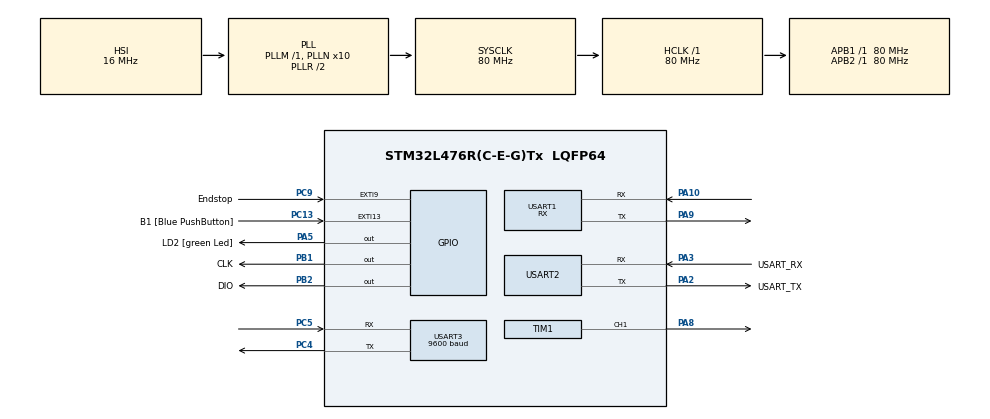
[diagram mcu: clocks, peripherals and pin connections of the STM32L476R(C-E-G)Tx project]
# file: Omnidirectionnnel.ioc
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CRC.CRCLength=CRC_POLYLENGTH_16B
CRC.DefaultPolynomialUse=DEFAULT_POLYNOMIAL_DISABLE
CRC.GeneratingPolynomial=X13+X9+X8+X7+X6+X4+X0
Dma.Request0=USART1_RX
Dma.Request1=USART3_TX
Dma.USART1_RX.0.Direction=DMA_PERIPH_TO_MEMORY
Dma.USART1_RX.0.Instance=DMA1_Channel5
Dma.USART1_RX.0.MemDataAlignment=DMA_MDATAALIGN_BYTE
Dma.USART1_RX.0.MemInc=DMA_MINC_ENABLE
Dma.USART1_RX.0.Mode=DMA_CIRCULAR
Dma.USART1_RX.0.PeriphDataAlignment=DMA_PDATAALIGN_BYTE
Dma.USART1_RX.0.PeriphInc=DMA_PINC_DISABLE
Dma.USART1_RX.0.Priority=DMA_PRIORITY_HIGH
Dma.USART3_TX.1.Direction=DMA_MEMORY_TO_PERIPH
Dma.USART3_TX.1.Instance=DMA1_Channel2
Dma.USART3_TX.1.MemDataAlignment=DMA_MDATAALIGN_BYTE
Dma.USART3_TX.1.MemInc=DMA_MINC_ENABLE
Dma.USART3_TX.1.Mode=DMA_NORMAL
Dma.USART3_TX.1.PeriphDataAlignment=DMA_PDATAALIGN_BYTE
Dma.USART3_TX.1.PeriphInc=DMA_PINC_DISABLE
Dma.USART3_TX.1.Priority=DMA_PRIORITY_LOW
Mcu.Family=STM32L4
Mcu.Name=STM32L476R(C-E-G)Tx
Mcu.Package=LQFP64
NVIC.DMA1_Channel2_IRQn=true\:0\:0\:false\:false\:true\:false\:true\:true
NVIC.DMA1_Channel5_IRQn=true\:0\:0\:false\:false\:true\:false\:true\:true
NVIC.EXTI9_5_IRQn=true\:0\:0\:false\:false\:true\:true\:true\:true
NVIC.PriorityGroup=NVIC_PRIORITYGROUP_4
NVIC.TIM1_TRG_COM_TIM17_IRQn=true\:0\:0\:false\:false\:true\:true\:true\:true
NVIC.TIM2_IRQn=true\:0\:0\:false\:false\:true\:true\:true\:true
PA10.Mode=Asynchronous
PA10.Signal=USART1_RX
PA13\ (JTMS-SWDIO).GPIO_Label=TMS
PA13\ (JTMS-SWDIO).Mode=Serial_Wire
PA13\ (JTMS-SWDIO).Signal=SYS_JTMS-SWDIO
PA14\ (JTCK-SWCLK).GPIO_Label=TCK
PA14\ (JTCK-SWCLK).Mode=Serial_Wire
PA14\ (JTCK-SWCLK).Signal=SYS_JTCK-SWCLK
PA2.GPIO_Label=USART_TX
PA2.GPIO_Mode=GPIO_MODE_AF_PP
PA2.GPIO_PuPd=GPIO_NOPULL
PA2.GPIO_Speed=GPIO_SPEED_FREQ_VERY_HIGH
PA2.Mode=Asynchronous
PA2.Signal=USART2_TX
PA3.GPIO_Label=USART_RX
PA3.GPIO_Mode=GPIO_MODE_AF_PP
PA3.GPIO_PuPd=GPIO_NOPULL
PA3.GPIO_Speed=GPIO_SPEED_FREQ_VERY_HIGH
PA3.Mode=Asynchronous
PA3.Signal=USART2_RX
PA5.GPIO_Label=LD2 [green Led]
PA5.GPIO_ModeDefaultOutputPP=GPIO_MODE_OUTPUT_PP
PA5.GPIO_PuPd=GPIO_NOPULL
PA5.GPIO_Speed=GPIO_SPEED_FREQ_LOW
PA5.Signal=GPIO_Output
PA8.Signal=S_TIM1_CH1
PA9.Mode=Asynchronous
PA9.Signal=USART1_TX
PB1.GPIO_Label=CLK
PB1.Signal=GPIO_Output
PB2.GPIO_Label=DIO
PB2.Signal=GPIO_Output
PB3\ (JTDO-TRACESWO).GPIO_Label=SWO
PB3\ (JTDO-TRACESWO).Signal=SYS_JTDO-SWO
PC13.GPIO_Label=B1 [Blue PushButton]
PC13.GPIO_ModeDefaultEXTI=GPIO_MODE_IT_FALLING
PC13.GPIO_PuPd=GPIO_NOPULL
PC13.Signal=GPXTI13
PC14-OSC32_IN\ (PC14).Mode=LSE-External-Oscillator
PC14-OSC32_IN\ (PC14).Signal=RCC_OSC32_IN
PC15-OSC32_OUT\ (PC15).Mode=LSE-External-Oscillator
PC15-OSC32_OUT\ (PC15).Signal=RCC_OSC32_OUT
PC4.Mode=Asynchronous
PC4.Signal=USART3_TX
PC5.Mode=Asynchronous
PC5.Signal=USART3_RX
PC9.GPIO_Label=Endstop
PC9.GPIO_PuPd=GPIO_PULLDOWN
PC9.Signal=GPXTI9
PH0-OSC_IN\ (PH0).Signal=RCC_OSC_IN
PH1-OSC_OUT\ (PH1).Signal=RCC_OSC_OUT
ProjectManager.HeapSize=0x200
ProjectManager.StackSize=0x400
ProjectManager.TargetToolchain=STM32CubeIDE
RCC.ADCFreq_Value=64000000
RCC.AHBFreq_Value=80000000
RCC.APB1Freq_Value=80000000
RCC.APB1TimFreq_Value=80000000
RCC.APB2Freq_Value=80000000
RCC.APB2TimFreq_Value=80000000
RCC.CortexFreq_Value=80000000
RCC.HCLKFreq_Value=80000000
RCC.HSE_VALUE=8000000
RCC.HSI_VALUE=16000000
RCC.MSI_VALUE=4000000
RCC.PLLN=10
RCC.PLLSourceVirtual=RCC_PLLSOURCE_HSI
RCC.PREFETCH_ENABLE=1
RCC.SYSCLKFreq_VALUE=80000000
RCC.SYSCLKSource=RCC_SYSCLKSOURCE_PLLCLK
RCC.USBFreq_Value=64000000
RCC.VCOOutputFreq_Value=160000000
SH.S_TIM1_CH1.0=TIM1_CH1,Output Compare1 CH1
TIM1.Channel-Output\ Compare1\ CH1=TIM_CHANNEL_1
TIM1.OCMode_1=TIM_OCMODE_ACTIVE
TIM1.Period=25000-1
TIM1.Pulse-Output\ Compare1\ CH1=12500
TIM1.TIM_MasterOutputTrigger=TIM_TRGO_OC1
TIM1.TIM_MasterSlaveMode=TIM_MASTERSLAVEMODE_ENABLE
TIM2.AutoReloadPreload=TIM_AUTORELOAD_PRELOAD_ENABLE
TIM2.Channel-Output\ Compare1\ No\ Output=TIM_CHANNEL_1
TIM2.CounterMode=TIM_COUNTERMODE_DOWN
TIM2.OCMode_1=TIM_OCMODE_ACTIVE
TIM2.Period=14*3200
TIM2.Pulse-Output\ Compare1\ No\ Output=1
TIM2.TIM_MasterOutputTrigger=TIM_TRGO_OC1REF
TIM2.TIM_MasterSlaveMode=TIM_MASTERSLAVEMODE_ENABLE
USART1.Mode=MODE_RX
USART1.SwapParam=ADVFEATURE_SWAP_ENABLE
USART1.VirtualMode-Asynchronous=VM_ASYNC
USART2.VirtualMode-Asynchronous=VM_ASYNC
USART3.BaudRate=9600
USART3.Mode=MODE_TX
USART3.VirtualMode-Asynchronous=VM_ASYNC
VP_CRC_VS_CRC.Mode=CRC_Activate
VP_TIM1_VS_ClockSourceINT.Mode=Internal
VP_TIM1_VS_ClockSourceITR.Mode=TriggerSource_ITR1
VP_TIM1_VS_ControllerModeGated.Mode=Gated Mode
VP_TIM2_VS_ClockSourceITR.Mode=TriggerSource_ITR0
VP_TIM2_VS_ControllerModeClock.Mode=Clock Mode
VP_TIM2_VS_OPM.Mode=OPM_bit
VP_TIM2_VS_no_output1.Mode=Output Compare1 No Output
board=NUCLEO-L476RG

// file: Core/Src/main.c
/* USER CODE BEGIN Header */

#define USE_KANGAROO
/**
  ******************************************************************************
  * @file           : main.c
  * @brief          : Main program body
  ******************************************************************************
  * @attention
  *
  * Copyright (c) 2023 STMicroelectronics.
  * All rights reserved.
  *
  * This software is licensed under terms that can be found in the LICENSE file
  * in the root directory of this software component.
  * If no LICENSE file comes with this software, it is provided AS-IS.
  *
  ******************************************************************************
  */
/* USER CODE END Header */
#include "main.h"

/* USER CODE BEGIN Includes */
#include "math.h"
#include "stdio.h"
#include "Stepper.h"
#include "IBus.h"

#ifdef USE_KANGAROO
#include "Kangaroo.h"
#else
#include "Sabertooth.h"
#endif

#include "Omnidirection.h"
#include "tm1637.h"
/* USER CODE END Includes */

CRC_HandleTypeDef hcrc;

TIM_HandleTypeDef htim1;
TIM_HandleTypeDef htim2;

UART_HandleTypeDef huart1;
UART_HandleTypeDef huart2;
UART_HandleTypeDef huart3;
DMA_HandleTypeDef hdma_usart1_rx;
DMA_HandleTypeDef hdma_usart3_tx;

/* USER CODE BEGIN PV */
IBus_struct Ibus;

tm1637_t Display;
Stepper_t stepper;
uint8_t motor[4] = {0,1,0,1};
uint8_t address[4] = {128,129,129,128};
float Stop[4]={0};
float command[4]={0};

Sabertooth saber;

/* USER CODE END PV */

void SystemClock_Config(void);
static void MX_GPIO_Init(void);
static void MX_DMA_Init(void);
static void MX_USART2_UART_Init(void);
static void MX_USART1_UART_Init(void);
static void MX_USART3_UART_Init(void);
static void MX_TIM1_Init(void);
static void MX_TIM2_Init(void);
static void MX_CRC_Init(void);

/* USER CODE BEGIN 0 */
void HAL_GPIO_EXTI_Callback(uint16_t GPIO_Pin)
{
    if(GPIO_Pin == GPIO_PIN_9) // If The INT Source Is EXTI Line9 (A9 Pin)
    {
  	HAL_TIM_OC_Stop(&htim1, TIM_CHANNEL_1);
  	HAL_TIM_OC_Stop_IT(&htim2, TIM_CHANNEL_1);

  	htim1.Instance->CNT = 0;
  	htim2.Instance->CNT = 0;
  	stepper.Pos = 0;
  	stepper.moving = 0;
    }
}

/* USER CODE END 0 */

int main(void)
{

  /* MCU Configuration--------------------------------------------------------*/

  /* Reset of all peripherals, Initializes the Flash interface and the Systick. */
  HAL_Init();

  /* Configure the system clock */
  SystemClock_Config();

  /* Initialize all configured peripherals */
  MX_GPIO_Init();
  MX_DMA_Init();
  MX_USART2_UART_Init();
  MX_USART1_UART_Init();
  MX_USART3_UART_Init();
  MX_TIM1_Init();
  MX_TIM2_Init();
  MX_CRC_Init();
  /* USER CODE BEGIN 2 */
  uint16_t *channel;
  IBUS_Init(&Ibus, &huart1);
#ifndef USE_KANGAROO
  Sabertooth_Init(&saber, &huart3, motor ,address);
#else
  Kangaroo_Init(&saber, &huart3, motor, address);
#endif
  channel = IBUS_GetChannels(&Ibus);

  char msg[150] = {0};
  IBUS_Update(&Ibus);
  tm1637_init(&Display, CLK_GPIO_Port, CLK_Pin, DIO_GPIO_Port, DIO_Pin);

  /* USER CODE END 2 */

  /* Infinite loop */
  while (1)
  {

    /* USER CODE BEGIN 3 */

	//Receiving
	  IBUS_Update(&Ibus);

	//Processing
	  uint16_t swap = channel[0];
	  channel[0] = channel[2];
	  channel[1] = swap;
	  channel[2] = channel[3];

	  Transform_Omni(channel, command);
	  int32_t Estimated_score = floor((channel[8]-1000)/50);

	  tm1637_write_int(&Display, Estimated_score, 0);

	//Controlling
	  if (channel[8]<1500) {
#ifndef USE_KANGAROO
		  Sabertooth_Drive(&saber,Stop);
#else
		  Kangaroo_drive(&saber, Stop);
#endif
		  HAL_GPIO_WritePin(LD2_GPIO_Port, LD2_Pin, 0);
		  HAL_UART_Transmit(&huart2, "-", 1, 5);
	  }
	  else {
#ifndef USE_KANGAROO
		  Sabertooth_Drive(&saber,command);
#else
		  Kangaroo_drive(&saber, command);
#endif
		  HAL_GPIO_WritePin(LD2_GPIO_Port, LD2_Pin, 1);
	  }
	  sprintf(msg,"%i;%i;%i; ==> %f;%f;%f;%f\r\n",channel[0],channel[1],channel[2],command[0],command[1],command[2],command[3]);
	  //HAL_UART_Transmit(&huart2, "-", 1, 5);

	  //sprintf(msg,"%i,%f;\r\n",channel[0],command[0]);
	  //sprintf(msg,"%i;%i;%i;%i;%i;%i;%i;%i;%i;%i\r\n",channel[0],channel[1],channel[2],channel[3],channel[4],channel[5],channel[6],channel[7],channel[8],channel[9]);
	  HAL_UART_Transmit(&huart2, msg, strlen(msg), 100);

  }
  /* USER CODE END 3 */
}

void SystemClock_Config(void)
{
  RCC_OscInitTypeDef RCC_OscInitStruct = {0};
  RCC_ClkInitTypeDef RCC_ClkInitStruct = {0};

  /** Configure the main internal regulator output voltage
  */
  if (HAL_PWREx_ControlVoltageScaling(PWR_REGULATOR_VOLTAGE_SCALE1) != HAL_OK)
  {
    Error_Handler();
  }

  /** Initializes the RCC Oscillators according to the specified parameters
  * in the RCC_OscInitTypeDef structure.
  */
  RCC_OscInitStruct.OscillatorType = RCC_OSCILLATORTYPE_HSI;
  RCC_OscInitStruct.HSIState = RCC_HSI_ON;
  RCC_OscInitStruct.HSICalibrationValue = RCC_HSICALIBRATION_DEFAULT;
  RCC_OscInitStruct.PLL.PLLState = RCC_PLL_ON;
  RCC_OscInitStruct.PLL.PLLSource = RCC_PLLSOURCE_HSI;
  RCC_OscInitStruct.PLL.PLLM = 1;
  RCC_OscInitStruct.PLL.PLLN = 10;
  RCC_OscInitStruct.PLL.PLLP = RCC_PLLP_DIV7;
  RCC_OscInitStruct.PLL.PLLQ = RCC_PLLQ_DIV2;
  RCC_OscInitStruct.PLL.PLLR = RCC_PLLR_DIV2;
  if (HAL_RCC_OscConfig(&RCC_OscInitStruct) != HAL_OK)
  {
    Error_Handler();
  }

  /** Initializes the CPU, AHB and APB buses clocks
  */
  RCC_ClkInitStruct.ClockType = RCC_CLOCKTYPE_HCLK|RCC_CLOCKTYPE_SYSCLK
                              |RCC_CLOCKTYPE_PCLK1|RCC_CLOCKTYPE_PCLK2;
  RCC_ClkInitStruct.SYSCLKSource = RCC_SYSCLKSOURCE_PLLCLK;
  RCC_ClkInitStruct.AHBCLKDivider = RCC_SYSCLK_DIV1;
  RCC_ClkInitStruct.APB1CLKDivider = RCC_HCLK_DIV1;
  RCC_ClkInitStruct.APB2CLKDivider = RCC_HCLK_DIV1;

  if (HAL_RCC_ClockConfig(&RCC_ClkInitStruct, FLASH_LATENCY_4) != HAL_OK)
  {
    Error_Handler();
  }
}

static void MX_CRC_Init(void)
{

  hcrc.Instance = CRC;
  hcrc.Init.DefaultPolynomialUse = DEFAULT_POLYNOMIAL_DISABLE;
  hcrc.Init.DefaultInitValueUse = DEFAULT_INIT_VALUE_ENABLE;
  hcrc.Init.GeneratingPolynomial = 9169;
  hcrc.Init.CRCLength = 14;
  hcrc.Init.InputDataInversionMode = CRC_INPUTDATA_INVERSION_NONE;
  hcrc.Init.OutputDataInversionMode = CRC_OUTPUTDATA_INVERSION_DISABLE;
  hcrc.InputDataFormat = CRC_INPUTDATA_FORMAT_BYTES;
  if (HAL_CRC_Init(&hcrc) != HAL_OK)
  {
    Error_Handler();
  }
  /* USER CODE BEGIN CRC_Init 2 */
  	hcrc.Init.GeneratingPolynomial = 8680;
    hcrc.Init.CRCLength = 14;
    if (HAL_CRC_Init(&hcrc) != HAL_OK)
      {
        Error_Handler();
      }
  /* USER CODE END CRC_Init 2 */

}

static void MX_TIM1_Init(void)
{

  TIM_ClockConfigTypeDef sClockSourceConfig = {0};
  TIM_SlaveConfigTypeDef sSlaveConfig = {0};
  TIM_MasterConfigTypeDef sMasterConfig = {0};
  TIM_OC_InitTypeDef sConfigOC = {0};
  TIM_BreakDeadTimeConfigTypeDef sBreakDeadTimeConfig = {0};

  htim1.Instance = TIM1;
  htim1.Init.Prescaler = 0;
  htim1.Init.CounterMode = TIM_COUNTERMODE_UP;
  htim1.Init.Period = 25000-1;
  htim1.Init.ClockDivision = TIM_CLOCKDIVISION_DIV1;
  htim1.Init.RepetitionCounter = 0;
  htim1.Init.AutoReloadPreload = TIM_AUTORELOAD_PRELOAD_DISABLE;
  if (HAL_TIM_Base_Init(&htim1) != HAL_OK)
  {
    Error_Handler();
  }
  sClockSourceConfig.ClockSource = TIM_CLOCKSOURCE_INTERNAL;
  if (HAL_TIM_ConfigClockSource(&htim1, &sClockSourceConfig) != HAL_OK)
  {
    Error_Handler();
  }
  if (HAL_TIM_OC_Init(&htim1) != HAL_OK)
  {
    Error_Handler();
  }
  sSlaveConfig.SlaveMode = TIM_SLAVEMODE_GATED;
  sSlaveConfig.InputTrigger = TIM_TS_ITR1;
  if (HAL_TIM_SlaveConfigSynchro(&htim1, &sSlaveConfig) != HAL_OK)
  {
    Error_Handler();
  }
  sMasterConfig.MasterOutputTrigger = TIM_TRGO_OC1;
  sMasterConfig.MasterOutputTrigger2 = TIM_TRGO2_RESET;
  sMasterConfig.MasterSlaveMode = TIM_MASTERSLAVEMODE_ENABLE;
  if (HAL_TIMEx_MasterConfigSynchronization(&htim1, &sMasterConfig) != HAL_OK)
  {
    Error_Handler();
  }
  sConfigOC.OCMode = TIM_OCMODE_ACTIVE;
  sConfigOC.Pulse = 12500;
  sConfigOC.OCPolarity = TIM_OCPOLARITY_HIGH;
  sConfigOC.OCNPolarity = TIM_OCNPOLARITY_HIGH;
  sConfigOC.OCFastMode = TIM_OCFAST_DISABLE;
  sConfigOC.OCIdleState = TIM_OCIDLESTATE_RESET;
  sConfigOC.OCNIdleState = TIM_OCNIDLESTATE_RESET;
  if (HAL_TIM_OC_ConfigChannel(&htim1, &sConfigOC, TIM_CHANNEL_1) != HAL_OK)
  {
    Error_Handler();
  }
  sBreakDeadTimeConfig.OffStateRunMode = TIM_OSSR_DISABLE;
  sBreakDeadTimeConfig.OffStateIDLEMode = TIM_OSSI_DISABLE;
  sBreakDeadTimeConfig.LockLevel = TIM_LOCKLEVEL_OFF;
  sBreakDeadTimeConfig.DeadTime = 0;
  sBreakDeadTimeConfig.BreakState = TIM_BREAK_DISABLE;
  sBreakDeadTimeConfig.BreakPolarity = TIM_BREAKPOLARITY_HIGH;
  sBreakDeadTimeConfig.BreakFilter = 0;
  sBreakDeadTimeConfig.Break2State = TIM_BREAK2_DISABLE;
  sBreakDeadTimeConfig.Break2Polarity = TIM_BREAK2POLARITY_HIGH;
  sBreakDeadTimeConfig.Break2Filter = 0;
  sBreakDeadTimeConfig.AutomaticOutput = TIM_AUTOMATICOUTPUT_DISABLE;
  if (HAL_TIMEx_ConfigBreakDeadTime(&htim1, &sBreakDeadTimeConfig) != HAL_OK)
  {
    Error_Handler();
  }
  HAL_TIM_MspPostInit(&htim1);

}

static void MX_TIM2_Init(void)
{

  TIM_SlaveConfigTypeDef sSlaveConfig = {0};
  TIM_MasterConfigTypeDef sMasterConfig = {0};
  TIM_OC_InitTypeDef sConfigOC = {0};

  htim2.Instance = TIM2;
  htim2.Init.Prescaler = 0;
  htim2.Init.CounterMode = TIM_COUNTERMODE_DOWN;
  htim2.Init.Period = 14*3200;
  htim2.Init.ClockDivision = TIM_CLOCKDIVISION_DIV1;
  htim2.Init.AutoReloadPreload = TIM_AUTORELOAD_PRELOAD_ENABLE;
  if (HAL_TIM_Base_Init(&htim2) != HAL_OK)
  {
    Error_Handler();
  }
  if (HAL_TIM_OC_Init(&htim2) != HAL_OK)
  {
    Error_Handler();
  }
  if (HAL_TIM_OnePulse_Init(&htim2, TIM_OPMODE_SINGLE) != HAL_OK)
  {
    Error_Handler();
  }
  sSlaveConfig.SlaveMode = TIM_SLAVEMODE_EXTERNAL1;
  sSlaveConfig.InputTrigger = TIM_TS_ITR0;
  if (HAL_TIM_SlaveConfigSynchro(&htim2, &sSlaveConfig) != HAL_OK)
  {
    Error_Handler();
  }
  sMasterConfig.MasterOutputTrigger = TIM_TRGO_OC1REF;
  sMasterConfig.MasterSlaveMode = TIM_MASTERSLAVEMODE_ENABLE;
  if (HAL_TIMEx_MasterConfigSynchronization(&htim2, &sMasterConfig) != HAL_OK)
  {
    Error_Handler();
  }
  sConfigOC.OCMode = TIM_OCMODE_ACTIVE;
  sConfigOC.Pulse = 1;
  sConfigOC.OCPolarity = TIM_OCPOLARITY_HIGH;
  sConfigOC.OCFastMode = TIM_OCFAST_DISABLE;
  if (HAL_TIM_OC_ConfigChannel(&htim2, &sConfigOC, TIM_CHANNEL_1) != HAL_OK)
  {
    Error_Handler();
  }

}

static void MX_USART1_UART_Init(void)
{

  huart1.Instance = USART1;
  huart1.Init.BaudRate = 115200;
  huart1.Init.WordLength = UART_WORDLENGTH_8B;
  huart1.Init.StopBits = UART_STOPBITS_1;
  huart1.Init.Parity = UART_PARITY_NONE;
  huart1.Init.Mode = UART_MODE_RX;
  huart1.Init.HwFlowCtl = UART_HWCONTROL_NONE;
  huart1.Init.OverSampling = UART_OVERSAMPLING_16;
  huart1.Init.OneBitSampling = UART_ONE_BIT_SAMPLE_DISABLE;
  huart1.AdvancedInit.AdvFeatureInit = UART_ADVFEATURE_SWAP_INIT;
  huart1.AdvancedInit.Swap = UART_ADVFEATURE_SWAP_ENABLE;
  if (HAL_UART_Init(&huart1) != HAL_OK)
  {
    Error_Handler();
  }

}

static void MX_USART2_UART_Init(void)
{

  huart2.Instance = USART2;
  huart2.Init.BaudRate = 115200;
  huart2.Init.WordLength = UART_WORDLENGTH_8B;
  huart2.Init.StopBits = UART_STOPBITS_1;
  huart2.Init.Parity = UART_PARITY_NONE;
  huart2.Init.Mode = UART_MODE_TX_RX;
  huart2.Init.HwFlowCtl = UART_HWCONTROL_NONE;
  huart2.Init.OverSampling = UART_OVERSAMPLING_16;
  huart2.Init.OneBitSampling = UART_ONE_BIT_SAMPLE_DISABLE;
  huart2.AdvancedInit.AdvFeatureInit = UART_ADVFEATURE_NO_INIT;
  if (HAL_UART_Init(&huart2) != HAL_OK)
  {
    Error_Handler();
  }

}

static void MX_USART3_UART_Init(void)
{

  huart3.Instance = USART3;
  huart3.Init.BaudRate = 9600;
  huart3.Init.WordLength = UART_WORDLENGTH_8B;
  huart3.Init.StopBits = UART_STOPBITS_1;
  huart3.Init.Parity = UART_PARITY_NONE;
  huart3.Init.Mode = UART_MODE_TX;
  huart3.Init.HwFlowCtl = UART_HWCONTROL_NONE;
  huart3.Init.OverSampling = UART_OVERSAMPLING_16;
  huart3.Init.OneBitSampling = UART_ONE_BIT_SAMPLE_DISABLE;
  huart3.AdvancedInit.AdvFeatureInit = UART_ADVFEATURE_NO_INIT;
  if (HAL_UART_Init(&huart3) != HAL_OK)
  {
    Error_Handler();
  }

}

static void MX_DMA_Init(void)
{

  /* DMA controller clock enable */
  __HAL_RCC_DMA1_CLK_ENABLE();

  /* DMA interrupt init */
  /* DMA1_Channel2_IRQn interrupt configuration */
  HAL_NVIC_SetPriority(DMA1_Channel2_IRQn, 0, 0);
  HAL_NVIC_EnableIRQ(DMA1_Channel2_IRQn);
  /* DMA1_Channel5_IRQn interrupt configuration */
  HAL_NVIC_SetPriority(DMA1_Channel5_IRQn, 0, 0);
  HAL_NVIC_EnableIRQ(DMA1_Channel5_IRQn);

}

static void MX_GPIO_Init(void)
{
  GPIO_InitTypeDef GPIO_InitStruct = {0};

  /* GPIO Ports Clock Enable */
  __HAL_RCC_GPIOC_CLK_ENABLE();
  __HAL_RCC_GPIOH_CLK_ENABLE();
  __HAL_RCC_GPIOA_CLK_ENABLE();
  __HAL_RCC_GPIOB_CLK_ENABLE();

  /*Configure GPIO pin Output Level */
  HAL_GPIO_WritePin(LD2_GPIO_Port, LD2_Pin, GPIO_PIN_RESET);

  /*Configure GPIO pin Output Level */
  HAL_GPIO_WritePin(GPIOB, CLK_Pin|DIO_Pin, GPIO_PIN_RESET);

  /*Configure GPIO pin : B1_Pin */
  GPIO_InitStruct.Pin = B1_Pin;
  GPIO_InitStruct.Mode = GPIO_MODE_IT_FALLING;
  GPIO_InitStruct.Pull = GPIO_NOPULL;
  HAL_GPIO_Init(B1_GPIO_Port, &GPIO_InitStruct);

  /*Configure GPIO pin : LD2_Pin */
  GPIO_InitStruct.Pin = LD2_Pin;
  GPIO_InitStruct.Mode = GPIO_MODE_OUTPUT_PP;
  GPIO_InitStruct.Pull = GPIO_NOPULL;
  GPIO_InitStruct.Speed = GPIO_SPEED_FREQ_LOW;
  HAL_GPIO_Init(LD2_GPIO_Port, &GPIO_InitStruct);

  /*Configure GPIO pins : CLK_Pin DIO_Pin */
  GPIO_InitStruct.Pin = CLK_Pin|DIO_Pin;
  GPIO_InitStruct.Mode = GPIO_MODE_OUTPUT_PP;
  GPIO_InitStruct.Pull = GPIO_NOPULL;
  GPIO_InitStruct.Speed = GPIO_SPEED_FREQ_LOW;
  HAL_GPIO_Init(GPIOB, &GPIO_InitStruct);

  /*Configure GPIO pin : Endstop_Pin */
  GPIO_InitStruct.Pin = Endstop_Pin;
  GPIO_InitStruct.Mode = GPIO_MODE_IT_RISING;
  GPIO_InitStruct.Pull = GPIO_PULLDOWN;
  HAL_GPIO_Init(Endstop_GPIO_Port, &GPIO_InitStruct);

  /* EXTI interrupt init*/
  HAL_NVIC_SetPriority(EXTI9_5_IRQn, 0, 0);
  HAL_NVIC_EnableIRQ(EXTI9_5_IRQn);

}

void Error_Handler(void)
{
  __disable_irq();
  while (1)
  {
  }
}
